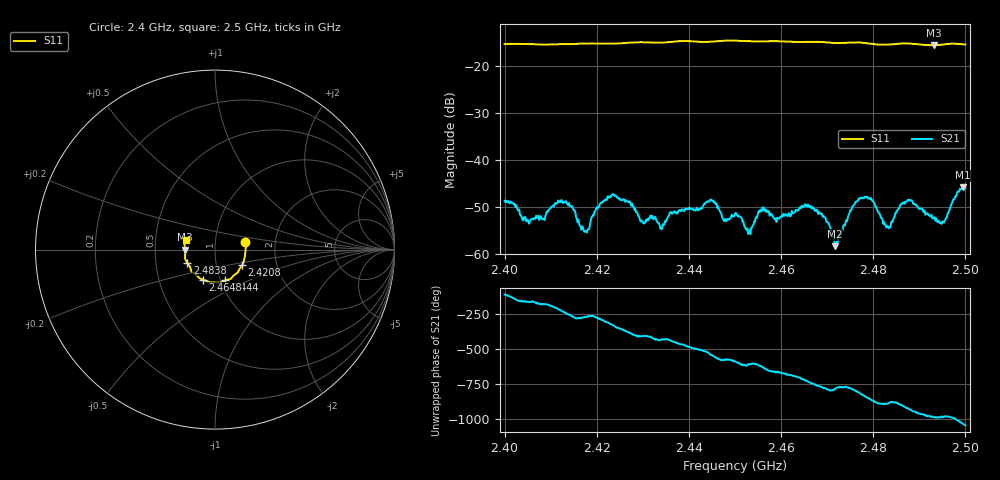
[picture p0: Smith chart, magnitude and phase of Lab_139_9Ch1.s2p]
# Hz S RI R 50
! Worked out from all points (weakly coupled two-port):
!   601 points, 2.4 GHz to 2.5 GHz, reference 50 ohm
!   highest |S21| = -45.91 dB at 2.4995 GHz (marker M1); lowest = -58.4 dB at 2.4717 GHz (marker M2)
!   lowest |S11| = -15.6 dB at 2.4932 GHz (marker M3), VSWR 1.40, Z = 35.7 - j0.0512 ohm
!   |S11| at or under -10 dB: start of sweep to end of sweep
!   S12 and S22 are empty: the file has one direction only
!   S11 on the Smith chart (normalised r, x): 2.4 GHz: 1.39, +0.12; 2.4208 GHz: 1.33, -0.24; 2.444 GHz: 1.05, -0.37; 2.4648 GHz: 0.83, -0.29; 2.4838 GHz: 0.73, -0.11; 2.5 GHz: 0.72, +0.08
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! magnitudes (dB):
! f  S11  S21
! 2.4 GHz  -15.3  -48.8
! 2.4052 GHz  -15.3  -53.2
! 2.4128 GHz  -15.3  -49.1
! 2.4167 GHz  -15.2  -54.9
! 2.4208 GHz  -15.2  -49.2
! 2.4237 GHz  -15.2  -47.3
! 2.4333 GHz  -15.0  -53.5
! 2.444 GHz  -14.9  -48.8
! 2.45 GHz  -14.6  -51.5
! 2.4528 GHz  -14.7  -55.8
! 2.456 GHz  -14.7  -50.1
! 2.4648 GHz  -14.9  -50.0
! 2.4667 GHz  -14.8  -50.3
! 2.4717 GHz  -15.1  -58.4
! 2.4777 GHz  -15.0  -48.0
! 2.4833 GHz  -15.4  -54.6
! 2.4838 GHz  -15.4  -53.7
! 2.4878 GHz  -15.2  -48.8
! 2.4932 GHz  -15.6  -52.3
! 2.4953 GHz  -15.4  -53.4
! 2.4995 GHz  -15.4  -45.9
! 2.5 GHz  -15.4  -46.1
